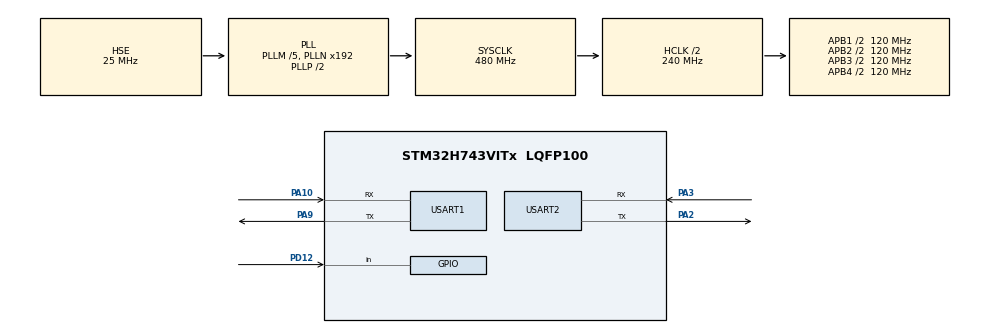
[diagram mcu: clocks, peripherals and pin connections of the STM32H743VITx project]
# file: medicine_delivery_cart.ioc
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Dma.Request0=USART1_RX
Dma.Request1=USART1_TX
Dma.Request2=USART2_RX
Dma.USART1_RX.0.Direction=DMA_PERIPH_TO_MEMORY
Dma.USART1_RX.0.EventEnable=DISABLE
Dma.USART1_RX.0.FIFOMode=DMA_FIFOMODE_DISABLE
Dma.USART1_RX.0.Instance=DMA1_Stream0
Dma.USART1_RX.0.MemDataAlignment=DMA_MDATAALIGN_BYTE
Dma.USART1_RX.0.MemInc=DMA_MINC_ENABLE
Dma.USART1_RX.0.Mode=DMA_NORMAL
Dma.USART1_RX.0.PeriphDataAlignment=DMA_PDATAALIGN_BYTE
Dma.USART1_RX.0.PeriphInc=DMA_PINC_DISABLE
Dma.USART1_RX.0.Polarity=HAL_DMAMUX_REQ_GEN_RISING
Dma.USART1_RX.0.Priority=DMA_PRIORITY_HIGH
Dma.USART1_RX.0.RequestNumber=1
Dma.USART1_RX.0.SignalID=NONE
Dma.USART1_RX.0.SyncEnable=DISABLE
Dma.USART1_RX.0.SyncPolarity=HAL_DMAMUX_SYNC_NO_EVENT
Dma.USART1_RX.0.SyncRequestNumber=1
Dma.USART1_RX.0.SyncSignalID=NONE
Dma.USART1_TX.1.Direction=DMA_MEMORY_TO_PERIPH
Dma.USART1_TX.1.EventEnable=DISABLE
Dma.USART1_TX.1.FIFOMode=DMA_FIFOMODE_DISABLE
Dma.USART1_TX.1.Instance=DMA1_Stream1
Dma.USART1_TX.1.MemDataAlignment=DMA_MDATAALIGN_BYTE
Dma.USART1_TX.1.MemInc=DMA_MINC_ENABLE
Dma.USART1_TX.1.Mode=DMA_NORMAL
Dma.USART1_TX.1.PeriphDataAlignment=DMA_PDATAALIGN_BYTE
Dma.USART1_TX.1.PeriphInc=DMA_PINC_DISABLE
Dma.USART1_TX.1.Polarity=HAL_DMAMUX_REQ_GEN_RISING
Dma.USART1_TX.1.Priority=DMA_PRIORITY_HIGH
Dma.USART1_TX.1.RequestNumber=1
Dma.USART1_TX.1.SignalID=NONE
Dma.USART1_TX.1.SyncEnable=DISABLE
Dma.USART1_TX.1.SyncPolarity=HAL_DMAMUX_SYNC_NO_EVENT
Dma.USART1_TX.1.SyncRequestNumber=1
Dma.USART1_TX.1.SyncSignalID=NONE
Dma.USART2_RX.2.Direction=DMA_PERIPH_TO_MEMORY
Dma.USART2_RX.2.EventEnable=DISABLE
Dma.USART2_RX.2.FIFOMode=DMA_FIFOMODE_DISABLE
Dma.USART2_RX.2.Instance=DMA1_Stream2
Dma.USART2_RX.2.MemDataAlignment=DMA_MDATAALIGN_BYTE
Dma.USART2_RX.2.MemInc=DMA_MINC_ENABLE
Dma.USART2_RX.2.Mode=DMA_NORMAL
Dma.USART2_RX.2.PeriphDataAlignment=DMA_PDATAALIGN_BYTE
Dma.USART2_RX.2.PeriphInc=DMA_PINC_DISABLE
Dma.USART2_RX.2.Polarity=HAL_DMAMUX_REQ_GEN_RISING
Dma.USART2_RX.2.Priority=DMA_PRIORITY_HIGH
Dma.USART2_RX.2.RequestNumber=1
Dma.USART2_RX.2.SignalID=NONE
Dma.USART2_RX.2.SyncEnable=DISABLE
Dma.USART2_RX.2.SyncPolarity=HAL_DMAMUX_SYNC_NO_EVENT
Dma.USART2_RX.2.SyncRequestNumber=1
Dma.USART2_RX.2.SyncSignalID=NONE
Mcu.Family=STM32H7
Mcu.Name=STM32H743VITx
Mcu.Package=LQFP100
NVIC.DMA1_Stream0_IRQn=true\:0\:0\:false\:false\:true\:false\:true\:true
NVIC.DMA1_Stream1_IRQn=true\:0\:0\:false\:false\:true\:false\:true\:true
NVIC.DMA1_Stream2_IRQn=true\:0\:0\:false\:false\:true\:false\:true\:true
NVIC.PriorityGroup=NVIC_PRIORITYGROUP_4
NVIC.TIM7_IRQn=true\:15\:0\:false\:false\:true\:false\:true\:true
NVIC.TimeBase=TIM7_IRQn
NVIC.TimeBaseIP=TIM7
NVIC.USART1_IRQn=true\:0\:0\:false\:false\:true\:false\:true\:true
NVIC.USART2_IRQn=true\:0\:0\:false\:false\:true\:true\:true\:true
PA10.Mode=Asynchronous
PA10.Signal=USART1_RX
PA13\ (JTMS/SWDIO).Mode=Serial_Wire
PA13\ (JTMS/SWDIO).Signal=DEBUG_JTMS-SWDIO
PA14\ (JTCK/SWCLK).Mode=Serial_Wire
PA14\ (JTCK/SWCLK).Signal=DEBUG_JTCK-SWCLK
PA2.Mode=Asynchronous
PA2.Signal=USART2_TX
PA3.Mode=Asynchronous
PA3.Signal=USART2_RX
PA9.Mode=Asynchronous
PA9.Signal=USART1_TX
PC14-OSC32_IN\ (OSC32_IN).Mode=LSE-External-Oscillator
PC14-OSC32_IN\ (OSC32_IN).Signal=RCC_OSC32_IN
PC15-OSC32_OUT\ (OSC32_OUT).Mode=LSE-External-Oscillator
PC15-OSC32_OUT\ (OSC32_OUT).Signal=RCC_OSC32_OUT
PD12.GPIO_PuPd=GPIO_PULLUP
PD12.Signal=GPIO_Input
PH0-OSC_IN\ (PH0).Mode=HSE-External-Oscillator
PH0-OSC_IN\ (PH0).Signal=RCC_OSC_IN
PH1-OSC_OUT\ (PH1).Mode=HSE-External-Oscillator
PH1-OSC_OUT\ (PH1).Signal=RCC_OSC_OUT
ProjectManager.HeapSize=0x2000
ProjectManager.StackSize=0x4000
ProjectManager.TargetToolchain=CMake
RCC.ADCFreq_Value=322500000
RCC.APB1Freq_Value=120000000
RCC.APB2Freq_Value=120000000
RCC.APB3Freq_Value=120000000
RCC.APB4Freq_Value=120000000
RCC.CortexFreq_Value=480000000
RCC.D1PPRE=RCC_APB3_DIV2
RCC.D2PPRE1=RCC_APB1_DIV2
RCC.D2PPRE2=RCC_APB2_DIV2
RCC.D3PPRE=RCC_APB4_DIV2
RCC.DIVM1=5
RCC.DIVM2=5
RCC.DIVM3=5
RCC.DIVN1=192
RCC.HCLKFreq_Value=240000000
RCC.HPRE=RCC_HCLK_DIV2
RCC.PLL2FRACN=0
RCC.PLL3FRACN=0
RCC.PLLFRACN=0
RCC.PLLSourceVirtual=RCC_PLLSOURCE_HSE
RCC.SYSCLKFreq_VALUE=480000000
RCC.SYSCLKSource=RCC_SYSCLKSOURCE_PLLCLK
RCC.USBFreq_Value=480000000
USART1.VirtualMode-Asynchronous=VM_ASYNC
USART2.VirtualMode-Asynchronous=VM_ASYNC
VP_MEMORYMAP_VS_MEMORYMAP.Mode=CurAppReg
VP_SYS_VS_tim7.Mode=TIM7
board=custom

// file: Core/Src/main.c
/* USER CODE BEGIN Header */
/**
  ******************************************************************************
  * @file           : main.c
  * @brief          : Main program body
  ******************************************************************************
  * @attention
  *
  * Copyright (c) 2025 STMicroelectronics.
  * All rights reserved.
  *
  * This software is licensed under terms that can be found in the LICENSE file
  * in the root directory of this software component.
  * If no LICENSE file comes with this software, it is provided AS-IS.
  *
  ******************************************************************************
  */
/* USER CODE END Header */
#include "main.h"
#include "dma.h"
#include "memorymap.h"
#include "usart.h"
#include "gpio.h"

/* USER CODE BEGIN Includes */

#include "Emm_V5.h"
#include "chassis.h"

/* USER CODE END Includes */

void SystemClock_Config(void);

/* USER CODE BEGIN 0 */
void ChassisMove(Direction_t direction);
/* USER CODE END 0 */

int main(void)
{

  /* MCU Configuration--------------------------------------------------------*/

  /* Reset of all peripherals, Initializes the Flash interface and the Systick. */
  HAL_Init();

  /* Configure the system clock */
  SystemClock_Config();

  /* Initialize all configured peripherals */
  MX_GPIO_Init();
  MX_DMA_Init();
  MX_USART1_UART_Init();
  MX_USART2_UART_Init();
  /* USER CODE BEGIN 2 */
  ChassisInit();

  __HAL_UART_CLEAR_IDLEFLAG(&huart1);
  __HAL_UART_ENABLE_IT(&huart1, UART_IT_IDLE);
  HAL_UART_Receive_DMA(&huart1, (uint8_t *)rxCmd, CMD_LEN);

  __HAL_UART_CLEAR_IDLEFLAG(&huart2);
  __HAL_UART_ENABLE_IT(&huart2, UART_IT_IDLE);
  HAL_UART_Receive_DMA(&huart2, (uint8_t *)comm_data, sizeof(comm_data));

  HAL_Delay(2000);

  /* USER CODE END 2 */

  /* Infinite loop */
  while (1)
  {

    /* USER CODE BEGIN 3 */
    ChassisUpdate();
    ChassisMove(STOP);

  }
  /* USER CODE END 3 */
}

void SystemClock_Config(void)
{
  RCC_OscInitTypeDef RCC_OscInitStruct = {0};
  RCC_ClkInitTypeDef RCC_ClkInitStruct = {0};

  /** Supply configuration update enable
  */
  HAL_PWREx_ConfigSupply(PWR_LDO_SUPPLY);

  /** Configure the main internal regulator output voltage
  */
  __HAL_PWR_VOLTAGESCALING_CONFIG(PWR_REGULATOR_VOLTAGE_SCALE1);

  while(!__HAL_PWR_GET_FLAG(PWR_FLAG_VOSRDY)) {}

  __HAL_RCC_SYSCFG_CLK_ENABLE();
  __HAL_PWR_VOLTAGESCALING_CONFIG(PWR_REGULATOR_VOLTAGE_SCALE0);

  while(!__HAL_PWR_GET_FLAG(PWR_FLAG_VOSRDY)) {}

  /** Initializes the RCC Oscillators according to the specified parameters
  * in the RCC_OscInitTypeDef structure.
  */
  RCC_OscInitStruct.OscillatorType = RCC_OSCILLATORTYPE_HSE;
  RCC_OscInitStruct.HSEState = RCC_HSE_ON;
  RCC_OscInitStruct.PLL.PLLState = RCC_PLL_ON;
  RCC_OscInitStruct.PLL.PLLSource = RCC_PLLSOURCE_HSE;
  RCC_OscInitStruct.PLL.PLLM = 5;
  RCC_OscInitStruct.PLL.PLLN = 192;
  RCC_OscInitStruct.PLL.PLLP = 2;
  RCC_OscInitStruct.PLL.PLLQ = 2;
  RCC_OscInitStruct.PLL.PLLR = 2;
  RCC_OscInitStruct.PLL.PLLRGE = RCC_PLL1VCIRANGE_2;
  RCC_OscInitStruct.PLL.PLLVCOSEL = RCC_PLL1VCOWIDE;
  RCC_OscInitStruct.PLL.PLLFRACN = 0;
  if (HAL_RCC_OscConfig(&RCC_OscInitStruct) != HAL_OK)
  {
    Error_Handler();
  }

  /** Initializes the CPU, AHB and APB buses clocks
  */
  RCC_ClkInitStruct.ClockType = RCC_CLOCKTYPE_HCLK|RCC_CLOCKTYPE_SYSCLK
                              |RCC_CLOCKTYPE_PCLK1|RCC_CLOCKTYPE_PCLK2
                              |RCC_CLOCKTYPE_D3PCLK1|RCC_CLOCKTYPE_D1PCLK1;
  RCC_ClkInitStruct.SYSCLKSource = RCC_SYSCLKSOURCE_PLLCLK;
  RCC_ClkInitStruct.SYSCLKDivider = RCC_SYSCLK_DIV1;
  RCC_ClkInitStruct.AHBCLKDivider = RCC_HCLK_DIV2;
  RCC_ClkInitStruct.APB3CLKDivider = RCC_APB3_DIV2;
  RCC_ClkInitStruct.APB1CLKDivider = RCC_APB1_DIV2;
  RCC_ClkInitStruct.APB2CLKDivider = RCC_APB2_DIV2;
  RCC_ClkInitStruct.APB4CLKDivider = RCC_APB4_DIV2;

  if (HAL_RCC_ClockConfig(&RCC_ClkInitStruct, FLASH_LATENCY_4) != HAL_OK)
  {
    Error_Handler();
  }
}

/* USER CODE BEGIN 4 */
void ChassisMove(const Direction_t direction) {
  switch (direction) {
  case MOVE:
    Emm_V5_Vel_Control(2, 1, 20 + turn_pid_output, 10, true);
    HAL_Delay(10);

    Emm_V5_Vel_Control(1, 1, 20 - turn_pid_output, 10, true);
    HAL_Delay(10);

    // Emm_V5_Vel_Control(2, 0, 0, 10, true);
    // HAL_Delay(10);
    //
    // Emm_V5_Vel_Control(1, 0, 0, 10, true);
    // HAL_Delay(10);

    break;
  case LEFT:
    if (slow_down_count > 0) {
      Emm_V5_Vel_Control(2, 0, 0, 10, true);
      HAL_Delay(10);

      Emm_V5_Vel_Control(1, 0, 0, 10, true);
      HAL_Delay(10);

      slow_down_count--;
    }

    if (turn_count > 0 && slow_down_count == 0) {
      Emm_V5_Vel_Control(2, 1, 1000, 10, true);
      HAL_Delay(10);

      Emm_V5_Vel_Control(1, 0, 1000, 10, true);
      HAL_Delay(10);

      turn_count--;
    }

    break;
  case RIGHT:
    Emm_V5_Vel_Control(2, 0, 1000, 10, true);
    HAL_Delay(10);

    Emm_V5_Vel_Control(1, 1, 1000, 10, true);
    HAL_Delay(10);

    break;
  case TURN:
    Emm_V5_Vel_Control(2, 0, 2000, 10, true);
    HAL_Delay(10);

    Emm_V5_Vel_Control(1, 1, 2000, 10, true);
    HAL_Delay(10);

    break;
  case STOP:
  default:
    Emm_V5_Vel_Control(2, 0, 0, 0, true);
    HAL_Delay(10);

    Emm_V5_Vel_Control(1, 0, 0, 0, true);
    HAL_Delay(10);

    break;
  }
  // 两电机同步运�?
  Emm_V5_Synchronous_motion(0);
  HAL_Delay(10);
}
/* USER CODE END 4 */

void HAL_TIM_PeriodElapsedCallback(TIM_HandleTypeDef *htim)
{
  if (htim->Instance == TIM7) {
    HAL_IncTick();
  }
}

void Error_Handler(void)
{
  __disable_irq();
  while (1)
  {
  }
}
